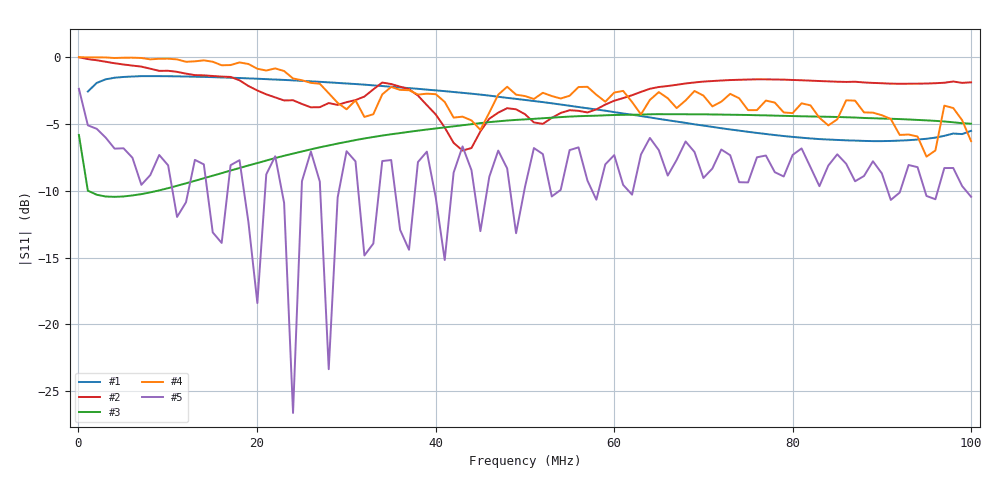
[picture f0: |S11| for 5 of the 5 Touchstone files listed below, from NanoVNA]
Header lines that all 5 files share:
# Hz S RI R 50
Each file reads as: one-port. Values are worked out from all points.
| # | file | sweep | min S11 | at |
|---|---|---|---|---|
| 1 | bal_O.s1p | 1.05 MHz to 100 MHz | -6.3 dB | 90 MHz |
| 2 | bal_S.s1p | 50 kHz to 100 MHz | -7.0 dB | 43.03 MHz |
| 3 | bal_T.s1p | 50 kHz to 100 MHz | -10.4 dB | 4.048 MHz |
| 4 | cab_O.s1p | 50 kHz to 100 MHz | -7.4 dB | 95 MHz |
| 5 | cab_S.s1p | 50 kHz to 100 MHz | -26.6 dB | 24.04 MHz |
